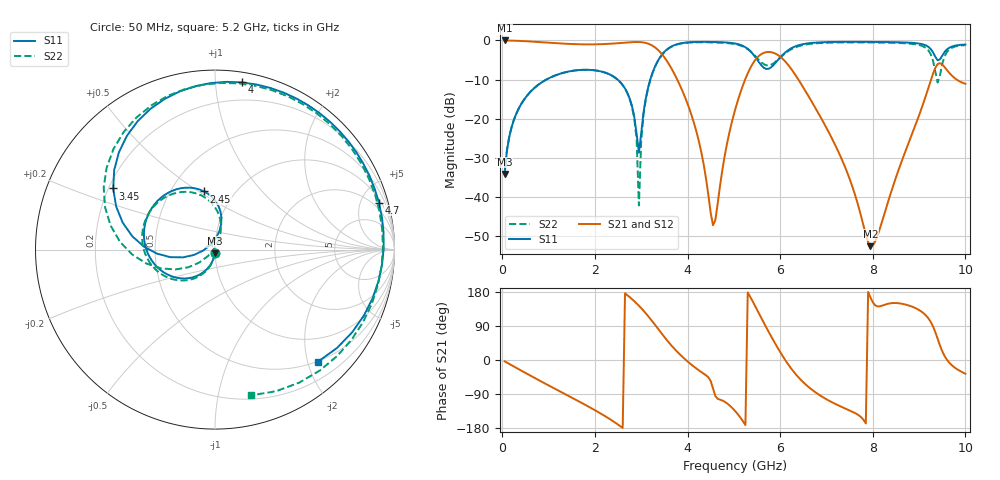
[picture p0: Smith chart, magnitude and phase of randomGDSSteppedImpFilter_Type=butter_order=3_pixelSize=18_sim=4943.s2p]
! freq	dB(S11)	phase(S11)	dB(S12)	phase(S12)
!  dB(S21)	phase(S21)	dB(S22)	phase(S22)
!S-par simulation data
#  GHz  S  DB  R 50
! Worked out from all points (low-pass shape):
!   200 points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, 50 MHz to 10 GHz, reference 50 ohm
!   highest |S21| = -0.01 dB at 50 MHz (marker M1); lowest = -52.6 dB at 7.95 GHz (marker M2)
!   |S21| within 3 dB of the highest: start of sweep to 3.409 GHz; 5.697 GHz to 5.804 GHz (107 MHz wide, 1.86 % of centre)
!   lowest |S11| = -34.2 dB at 50 MHz (marker M3), VSWR 1.04, Z = 49.8 - j1.95 ohm
!   |S11| at or under -10 dB: start of sweep to 953.5 MHz; 2.488 GHz to 3.196 GHz (708.4 MHz wide, 24.9 % of centre)
!   |S22| runs from -42.2 to -0.5 dB; largest |S21 - S12| = 0
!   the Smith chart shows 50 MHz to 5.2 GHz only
!   S11 on the Smith chart (normalised r, x): 50 MHz: 1.00, -0.04; 2.45 GHz: 0.72, +0.53; 3.45 GHz: 0.22, +0.27; 4 GHz: 0.07, +1.17; 4.7 GHz: 1.28, +6.87; 5.2 GHz: 0.49, -2.19
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0.05  -34.15 -93.4  -0.01 -3.5  -0.01 -3.5  -34.14 -93.1
0.5  -14.65 -126.0  -0.20 -34.1  -0.20 -34.1  -14.65 -123.3
1.75  -7.52 150.0  -1.00 -115.5  -1.00 -115.5  -7.52 158.1
2.45  -9.63 100.6  -0.75 -166.2  -0.75 -166.2  -9.66 108.3
2.85  -19.54 76.5  -0.41 155.2  -0.41 155.2  -19.96 71.8
2.95  -28.73 131.5  -0.41 143.2  -0.41 143.2  -42.23 122.7
3.05  -18.41 -165.8  -0.53 130.1  -0.53 130.1  -18.95 -140.4
3.4  -4.41 156.3  -2.88 76.3  -2.88 76.3  -4.48 167.0
3.45  -3.59 149.0  -3.56 68.4  -3.56 68.4  -3.65 158.9
4  -0.51 80.9  -16.20 -3.7  -16.20 -3.7  -0.58 81.9
4.55  -0.40 30.1  -47.30 -75.0  -47.30 -75.0  -0.51 18.9
4.7  -0.45 16.0  -37.36 -104.6  -37.36 -104.6  -0.58 0.7
5.05  -0.84 -23.9  -16.82 -137.8  -16.82 -137.8  -1.00 -49.2
5.2  -1.43 -47.3  -11.37 -162.2  -11.37 -162.2  -1.55 -76.1
5.7  -7.30 178.1  -3.00 85.9  -3.00 85.9  -6.36 -179.6
6.2  -2.29 60.5  -6.67 -16.2  -6.67 -16.2  -2.54 77.9
6.7  -0.61 7.0  -16.04 -79.7  -16.04 -79.7  -0.81 5.4
7.95  -0.38 -57.4  -52.64 165.0  -52.64 165.0  -0.52 -81.0
8.35  -0.43 -72.4  -40.53 149.0  -40.53 149.0  -0.59 -100.1
9.15  -1.29 -106.0  -14.03 117.3  -14.03 117.3  -1.97 -145.8
9.4  -5.07 -105.5  -6.06 56.4  -6.06 56.4  -10.77 -138.2
10  -1.04 -110.8  -11.09 -36.3  -11.09 -36.3  -1.21 -142.3
